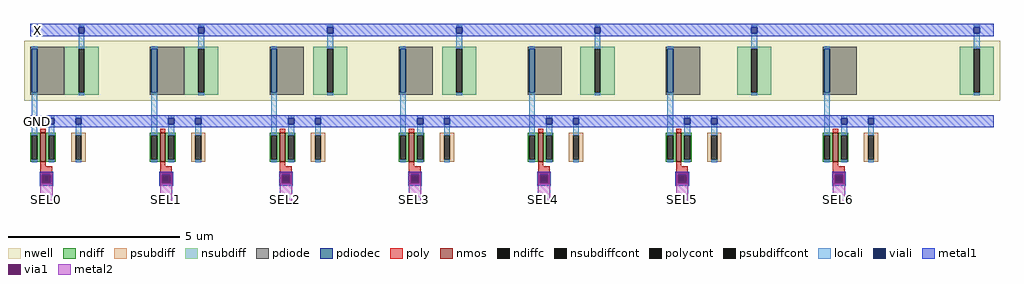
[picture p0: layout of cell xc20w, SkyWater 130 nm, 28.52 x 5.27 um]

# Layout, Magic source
magic
tech sky130A
magscale 1 2
<< nwell >>
rect -36 -36 5668 316
<< nmos >>
rect 60 -392 90 -224
rect 760 -392 790 -224
rect 1460 -392 1490 -224
rect 2214 -392 2244 -224
rect 2968 -392 2998 -224
rect 3776 -392 3806 -224
rect 4692 -392 4722 -224
<< ndiff >>
rect 0 -236 60 -224
rect 0 -380 8 -236
rect 42 -380 60 -236
rect 0 -392 60 -380
rect 90 -236 150 -224
rect 90 -380 108 -236
rect 142 -380 150 -236
rect 90 -392 150 -380
rect 700 -236 760 -224
rect 700 -380 708 -236
rect 742 -380 760 -236
rect 700 -392 760 -380
rect 790 -236 850 -224
rect 790 -380 808 -236
rect 842 -380 850 -236
rect 790 -392 850 -380
rect 1400 -236 1460 -224
rect 1400 -380 1408 -236
rect 1442 -380 1460 -236
rect 1400 -392 1460 -380
rect 1490 -236 1550 -224
rect 1490 -380 1508 -236
rect 1542 -380 1550 -236
rect 1490 -392 1550 -380
rect 2154 -236 2214 -224
rect 2154 -380 2162 -236
rect 2196 -380 2214 -236
rect 2154 -392 2214 -380
rect 2244 -236 2304 -224
rect 2244 -380 2262 -236
rect 2296 -380 2304 -236
rect 2244 -392 2304 -380
rect 2908 -236 2968 -224
rect 2908 -380 2916 -236
rect 2950 -380 2968 -236
rect 2908 -392 2968 -380
rect 2998 -236 3058 -224
rect 2998 -380 3016 -236
rect 3050 -380 3058 -236
rect 2998 -392 3058 -380
rect 3716 -236 3776 -224
rect 3716 -380 3724 -236
rect 3758 -380 3776 -236
rect 3716 -392 3776 -380
rect 3806 -236 3866 -224
rect 3806 -380 3824 -236
rect 3858 -380 3866 -236
rect 3806 -392 3866 -380
rect 4632 -236 4692 -224
rect 4632 -380 4640 -236
rect 4674 -380 4692 -236
rect 4632 -392 4692 -380
rect 4722 -236 4782 -224
rect 4722 -380 4740 -236
rect 4774 -380 4782 -236
rect 4722 -392 4782 -380
<< ndiffc >>
rect 8 -380 42 -236
rect 108 -380 142 -236
rect 708 -380 742 -236
rect 808 -380 842 -236
rect 1408 -380 1442 -236
rect 1508 -380 1542 -236
rect 2162 -380 2196 -236
rect 2262 -380 2296 -236
rect 2916 -380 2950 -236
rect 3016 -380 3050 -236
rect 3724 -380 3758 -236
rect 3824 -380 3858 -236
rect 4640 -380 4674 -236
rect 4740 -380 4774 -236
<< psubdiff >>
rect 240 -236 324 -224
rect 240 -380 265 -236
rect 299 -380 324 -236
rect 240 -392 324 -380
rect 940 -236 1024 -224
rect 940 -380 965 -236
rect 999 -380 1024 -236
rect 940 -392 1024 -380
rect 1640 -236 1724 -224
rect 1640 -380 1665 -236
rect 1699 -380 1724 -236
rect 1640 -392 1724 -380
rect 2394 -236 2478 -224
rect 2394 -380 2419 -236
rect 2453 -380 2478 -236
rect 2394 -392 2478 -380
rect 3148 -236 3232 -224
rect 3148 -380 3173 -236
rect 3207 -380 3232 -236
rect 3148 -392 3232 -380
rect 3956 -236 4040 -224
rect 3956 -380 3981 -236
rect 4015 -380 4040 -236
rect 3956 -392 4040 -380
rect 4872 -236 4956 -224
rect 4872 -380 4897 -236
rect 4931 -380 4956 -236
rect 4872 -392 4956 -380
<< nsubdiff >>
rect 200 268 400 280
rect 200 12 283 268
rect 317 12 400 268
rect 200 0 400 12
rect 900 268 1100 280
rect 900 12 983 268
rect 1017 12 1100 268
rect 900 0 1100 12
rect 1654 268 1854 280
rect 1654 12 1737 268
rect 1771 12 1854 268
rect 1654 0 1854 12
rect 2408 268 2608 280
rect 2408 12 2491 268
rect 2525 12 2608 268
rect 2408 0 2608 12
rect 3216 268 3416 280
rect 3216 12 3299 268
rect 3333 12 3416 268
rect 3216 0 3416 12
rect 4132 268 4332 280
rect 4132 12 4215 268
rect 4249 12 4332 268
rect 4132 0 4332 12
rect 5432 268 5632 280
rect 5432 12 5515 268
rect 5549 12 5632 268
rect 5432 0 5632 12
<< psubdiffcont >>
rect 265 -380 299 -236
rect 965 -380 999 -236
rect 1665 -380 1699 -236
rect 2419 -380 2453 -236
rect 3173 -380 3207 -236
rect 3981 -380 4015 -236
rect 4897 -380 4931 -236
<< nsubdiffcont >>
rect 283 12 317 268
rect 983 12 1017 268
rect 1737 12 1771 268
rect 2491 12 2525 268
rect 3299 12 3333 268
rect 4215 12 4249 268
rect 5515 12 5549 268
<< poly >>
rect 60 -224 90 -198
rect 760 -224 790 -198
rect 1460 -224 1490 -198
rect 2214 -224 2244 -198
rect 2968 -224 2998 -198
rect 3776 -224 3806 -198
rect 4692 -224 4722 -198
rect 60 -418 90 -392
rect 760 -418 790 -392
rect 1460 -418 1490 -392
rect 2214 -418 2244 -392
rect 2968 -418 2998 -392
rect 3776 -418 3806 -392
rect 4692 -418 4722 -392
rect 60 -474 128 -418
rect 60 -508 78 -474
rect 112 -508 128 -474
rect 60 -524 128 -508
rect 760 -474 828 -418
rect 760 -508 778 -474
rect 812 -508 828 -474
rect 760 -524 828 -508
rect 1460 -474 1528 -418
rect 1460 -508 1478 -474
rect 1512 -508 1528 -474
rect 1460 -524 1528 -508
rect 2214 -474 2282 -418
rect 2214 -508 2232 -474
rect 2266 -508 2282 -474
rect 2214 -524 2282 -508
rect 2968 -474 3036 -418
rect 2968 -508 2986 -474
rect 3020 -508 3036 -474
rect 2968 -524 3036 -508
rect 3776 -474 3844 -418
rect 3776 -508 3794 -474
rect 3828 -508 3844 -474
rect 3776 -524 3844 -508
rect 4692 -474 4760 -418
rect 4692 -508 4710 -474
rect 4744 -508 4760 -474
rect 4692 -524 4760 -508
<< polycont >>
rect 78 -508 112 -474
rect 778 -508 812 -474
rect 1478 -508 1512 -474
rect 2232 -508 2266 -474
rect 2986 -508 3020 -474
rect 3794 -508 3828 -474
rect 4710 -508 4744 -474
<< pdiode >>
rect 0 268 200 280
rect 0 12 8 268
rect 42 12 200 268
rect 0 0 200 12
rect 700 268 900 280
rect 700 12 708 268
rect 742 12 900 268
rect 700 0 900 12
rect 1400 268 1600 280
rect 1400 12 1408 268
rect 1442 12 1600 268
rect 1400 0 1600 12
rect 2154 268 2354 280
rect 2154 12 2162 268
rect 2196 12 2354 268
rect 2154 0 2354 12
rect 2908 268 3108 280
rect 2908 12 2916 268
rect 2950 12 3108 268
rect 2908 0 3108 12
rect 3716 268 3916 280
rect 3716 12 3724 268
rect 3758 12 3916 268
rect 3716 0 3916 12
rect 4632 268 4832 280
rect 4632 12 4640 268
rect 4674 12 4832 268
rect 4632 0 4832 12
<< pdiodec >>
rect 8 12 42 268
rect 708 12 742 268
rect 1408 12 1442 268
rect 2162 12 2196 268
rect 2916 12 2950 268
rect 3724 12 3758 268
rect 4640 12 4674 268
<< locali >>
rect 283 394 317 406
rect 8 268 42 284
rect 8 -236 42 12
rect 283 268 317 360
rect 983 394 1017 406
rect 283 -4 317 12
rect 708 268 742 284
rect 8 -396 42 -380
rect 108 -138 142 -120
rect 108 -236 142 -172
rect 108 -396 142 -380
rect 265 -138 299 -120
rect 265 -236 299 -172
rect 265 -396 299 -380
rect 708 -236 742 12
rect 983 268 1017 360
rect 1737 394 1771 406
rect 983 -4 1017 12
rect 1408 268 1442 284
rect 708 -396 742 -380
rect 808 -138 842 -120
rect 808 -236 842 -172
rect 808 -396 842 -380
rect 965 -138 999 -120
rect 965 -236 999 -172
rect 965 -396 999 -380
rect 1408 -236 1442 12
rect 1737 268 1771 360
rect 2491 394 2525 406
rect 1737 -4 1771 12
rect 2162 268 2196 284
rect 1408 -396 1442 -380
rect 1508 -138 1542 -120
rect 1508 -236 1542 -172
rect 1508 -396 1542 -380
rect 1665 -138 1699 -120
rect 1665 -236 1699 -172
rect 1665 -396 1699 -380
rect 2162 -236 2196 12
rect 2491 268 2525 360
rect 3299 394 3333 406
rect 2491 -4 2525 12
rect 2916 268 2950 284
rect 2162 -396 2196 -380
rect 2262 -138 2296 -120
rect 2262 -236 2296 -172
rect 2262 -396 2296 -380
rect 2419 -138 2453 -120
rect 2419 -236 2453 -172
rect 2419 -396 2453 -380
rect 2916 -236 2950 12
rect 3299 268 3333 360
rect 4215 394 4249 406
rect 3299 -4 3333 12
rect 3724 268 3758 284
rect 2916 -396 2950 -380
rect 3016 -138 3050 -120
rect 3016 -236 3050 -172
rect 3016 -396 3050 -380
rect 3173 -138 3207 -120
rect 3173 -236 3207 -172
rect 3173 -396 3207 -380
rect 3724 -236 3758 12
rect 4215 268 4249 360
rect 5515 394 5549 406
rect 4215 -4 4249 12
rect 4640 268 4674 284
rect 3724 -396 3758 -380
rect 3824 -138 3858 -120
rect 3824 -236 3858 -172
rect 3824 -396 3858 -380
rect 3981 -138 4015 -120
rect 3981 -236 4015 -172
rect 3981 -396 4015 -380
rect 4640 -236 4674 12
rect 5515 268 5549 360
rect 5515 -4 5549 12
rect 4640 -396 4674 -380
rect 4740 -138 4774 -120
rect 4740 -236 4774 -172
rect 4740 -396 4774 -380
rect 4897 -138 4931 -120
rect 4897 -236 4931 -172
rect 4897 -396 4931 -380
rect 78 -474 112 -458
rect 78 -524 112 -508
rect 778 -474 812 -458
rect 778 -524 812 -508
rect 1478 -474 1512 -458
rect 1478 -524 1512 -508
rect 2232 -474 2266 -458
rect 2232 -524 2266 -508
rect 2986 -474 3020 -458
rect 2986 -524 3020 -508
rect 3794 -474 3828 -458
rect 3794 -524 3828 -508
rect 4710 -474 4744 -458
rect 4710 -524 4744 -508
<< viali >>
rect 283 360 317 394
rect 983 360 1017 394
rect 108 -172 142 -138
rect 265 -172 299 -138
rect 1737 360 1771 394
rect 808 -172 842 -138
rect 965 -172 999 -138
rect 2491 360 2525 394
rect 1508 -172 1542 -138
rect 1665 -172 1699 -138
rect 3299 360 3333 394
rect 2262 -172 2296 -138
rect 2419 -172 2453 -138
rect 4215 360 4249 394
rect 3016 -172 3050 -138
rect 3173 -172 3207 -138
rect 5515 360 5549 394
rect 3824 -172 3858 -138
rect 3981 -172 4015 -138
rect 4740 -172 4774 -138
rect 4897 -172 4931 -138
rect 78 -508 112 -474
rect 778 -508 812 -474
rect 1478 -508 1512 -474
rect 2232 -508 2266 -474
rect 2986 -508 3020 -474
rect 3794 -508 3828 -474
rect 4710 -508 4744 -474
<< metal1 >>
rect 0 394 5632 414
rect 0 360 283 394
rect 317 360 983 394
rect 1017 360 1737 394
rect 1771 360 2491 394
rect 2525 360 3299 394
rect 3333 360 4215 394
rect 4249 360 5515 394
rect 5549 360 5632 394
rect 0 340 5632 360
rect 0 -138 5632 -120
rect 0 -172 108 -138
rect 142 -172 265 -138
rect 299 -172 808 -138
rect 842 -172 965 -138
rect 999 -172 1508 -138
rect 1542 -172 1665 -138
rect 1699 -172 2262 -138
rect 2296 -172 2419 -138
rect 2453 -172 3016 -138
rect 3050 -172 3173 -138
rect 3207 -172 3824 -138
rect 3858 -172 3981 -138
rect 4015 -172 4740 -138
rect 4774 -172 4897 -138
rect 4931 -172 5632 -138
rect 0 -190 5632 -172
rect 55 -465 135 -451
rect 55 -517 69 -465
rect 121 -517 135 -465
rect 55 -531 135 -517
rect 755 -465 835 -451
rect 755 -517 769 -465
rect 821 -517 835 -465
rect 755 -531 835 -517
rect 1455 -465 1535 -451
rect 1455 -517 1469 -465
rect 1521 -517 1535 -465
rect 1455 -531 1535 -517
rect 2209 -465 2289 -451
rect 2209 -517 2223 -465
rect 2275 -517 2289 -465
rect 2209 -531 2289 -517
rect 2963 -465 3043 -451
rect 2963 -517 2977 -465
rect 3029 -517 3043 -465
rect 2963 -531 3043 -517
rect 3771 -465 3851 -451
rect 3771 -517 3785 -465
rect 3837 -517 3851 -465
rect 3771 -531 3851 -517
rect 4687 -465 4767 -451
rect 4687 -517 4701 -465
rect 4753 -517 4767 -465
rect 4687 -531 4767 -517
<< via1 >>
rect 69 -474 121 -465
rect 69 -508 78 -474
rect 78 -508 112 -474
rect 112 -508 121 -474
rect 69 -517 121 -508
rect 769 -474 821 -465
rect 769 -508 778 -474
rect 778 -508 812 -474
rect 812 -508 821 -474
rect 769 -517 821 -508
rect 1469 -474 1521 -465
rect 1469 -508 1478 -474
rect 1478 -508 1512 -474
rect 1512 -508 1521 -474
rect 1469 -517 1521 -508
rect 2223 -474 2275 -465
rect 2223 -508 2232 -474
rect 2232 -508 2266 -474
rect 2266 -508 2275 -474
rect 2223 -517 2275 -508
rect 2977 -474 3029 -465
rect 2977 -508 2986 -474
rect 2986 -508 3020 -474
rect 3020 -508 3029 -474
rect 2977 -517 3029 -508
rect 3785 -474 3837 -465
rect 3785 -508 3794 -474
rect 3794 -508 3828 -474
rect 3828 -508 3837 -474
rect 3785 -517 3837 -508
rect 4701 -474 4753 -465
rect 4701 -508 4710 -474
rect 4710 -508 4744 -474
rect 4744 -508 4753 -474
rect 4701 -517 4753 -508
<< metal2 >>
rect 59 -465 131 -455
rect 59 -517 69 -465
rect 121 -517 131 -465
rect 59 -640 131 -517
rect 759 -465 831 -455
rect 759 -517 769 -465
rect 821 -517 831 -465
rect 759 -640 831 -517
rect 1459 -465 1531 -455
rect 1459 -517 1469 -465
rect 1521 -517 1531 -465
rect 1459 -640 1531 -517
rect 2213 -465 2285 -455
rect 2213 -517 2223 -465
rect 2275 -517 2285 -465
rect 2213 -640 2285 -517
rect 2967 -465 3039 -455
rect 2967 -517 2977 -465
rect 3029 -517 3039 -465
rect 2967 -640 3039 -517
rect 3775 -465 3847 -455
rect 3775 -517 3785 -465
rect 3837 -517 3847 -465
rect 3775 -640 3847 -517
rect 4691 -465 4763 -455
rect 4691 -517 4701 -465
rect 4753 -517 4763 -465
rect 4691 -640 4763 -517
<< labels >>
flabel metal2 59 -640 131 -580 0 FreeSans 320 0 0 0 SEL0
port 1 nsew
flabel metal2 759 -640 831 -580 0 FreeSans 320 0 0 0 SEL1
port 2 nsew
flabel metal2 1459 -640 1531 -580 0 FreeSans 320 0 0 0 SEL2
port 3 nsew
flabel metal2 2213 -640 2285 -580 0 FreeSans 320 0 0 0 SEL3
port 4 nsew
flabel metal2 2967 -640 3039 -580 0 FreeSans 320 0 0 0 SEL4
port 5 nsew
flabel metal2 3775 -640 3847 -580 0 FreeSans 320 0 0 0 SEL5
port 6 nsew
flabel metal2 4691 -640 4763 -580 0 FreeSans 320 0 0 0 SEL6
port 7 nsew
flabel metal1 0 340 80 414 0 FreeSans 320 0 0 0 X
port 8 nsew
flabel metal1 0 -190 80 -120 0 FreeSans 320 0 0 0 GND
port 9 nsew
<< end >>
